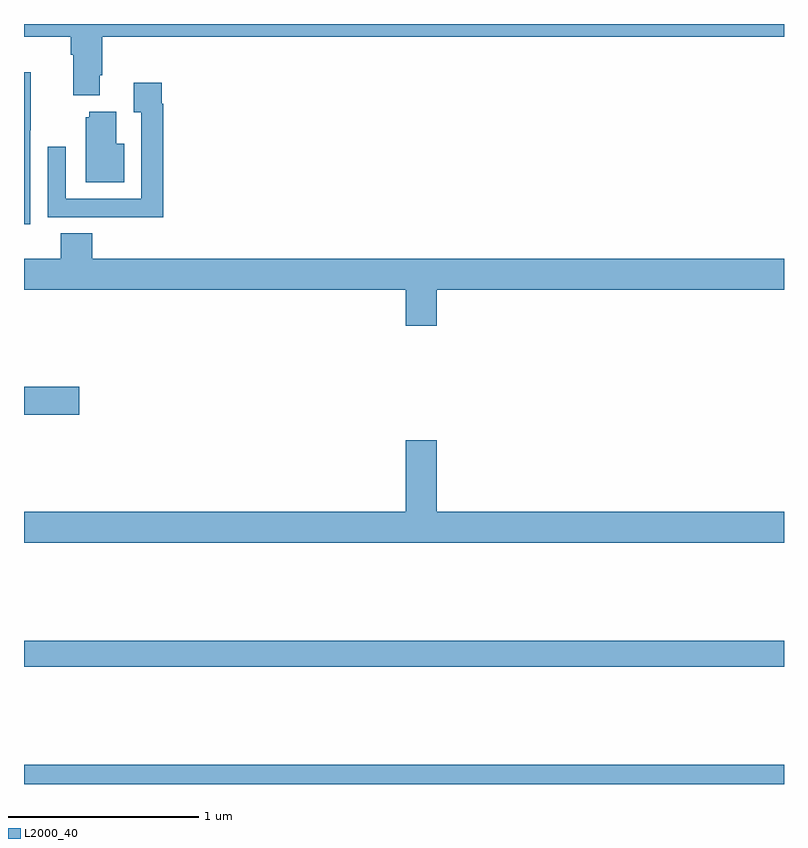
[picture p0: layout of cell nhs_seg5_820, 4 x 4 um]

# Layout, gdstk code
import gdstk
lib = gdstk.Library(unit=1e-6, precision=1e-09)
def R(c, l, rs):  # rectangles x0, y0, x1, y1
    for r in rs: c.add(gdstk.rectangle(r[:2], r[2:], *l))
def P(c, l, *ps):  # polygons
    for p in ps: c.add(gdstk.Polygon(p, *l))
L2000_40 = (2000, 40)

nhs_seg5_820 = lib.new_cell('nhs_seg5_820')
R(nhs_seg5_820, L2000_40, [(163,880.799,167,880.9), (163,881.416,167,881.552), (163,882.743,163.291,882.89)])
P(nhs_seg5_820, L2000_40, [(163.399,884.53),(163.412,884.53),(163.412,884.732),(167,884.732),(167,884.799),(163,884.799),(163,884.732),(163.247,884.732),(163.247,884.636),(163.259,884.636),(163.259,884.423),(163.399,884.423)],
  [(163.032,884.239),(163.035,884.239),(163.035,884.546),(163,884.546),(163,883.746),(163.032,883.746)],
  [(163.733,884.378),(163.726,884.378),(163.726,884.491),(163.577,884.491),(163.577,884.335),(163.617,884.335),(163.617,883.878),(163.221,883.878),(163.221,884.152),(163.125,884.152),(163.125,883.782),(163.441,883.782),(163.441,883.781),(163.733,883.781)],
  [(163.528,884.17),(163.486,884.17),(163.486,884.338),(163.343,884.338),(163.343,884.307),(163.325,884.307),(163.325,883.967),(163.528,883.967)],
  [(165.172,883.4),(167,883.4),(167,883.564),(163.358,883.564),(163.358,883.697),(163.193,883.697),(163.193,883.564),(163,883.564),(163,883.4),(165.008,883.4),(165.008,883.212),(165.172,883.212)],
  [(167,882.232),(165.172,882.232),(165.172,882.607),(165.008,882.607),(165.008,882.232),(163,882.232),(163,882.068),(167,882.068)])

lib.write_gds('nhs_seg5_820.gds')
